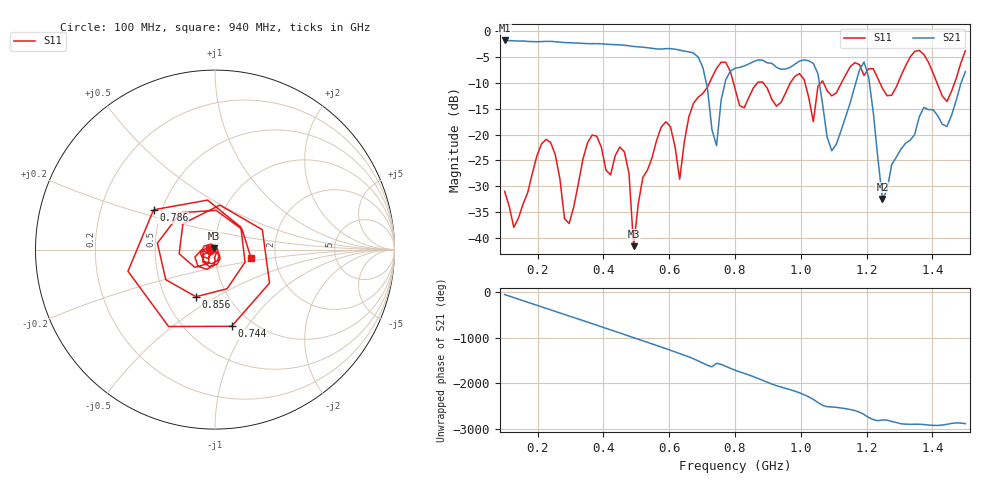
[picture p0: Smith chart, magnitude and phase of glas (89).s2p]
! NanoVNA-App
! Date: 2025-09-25 15:56:10
! Start: 100MHz Stop: 1,5GHz Points: 101
! S-Parameter data: F S11 S21 S12 S22
# Hz S RI R 50
!  Frequency  S11_Real  S11_Imag  S21_Real  S21_Imag  S12_Real  S12_Imag  S22_Real  S22_Imag
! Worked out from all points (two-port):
!   101 points, 100 MHz to 1.5 GHz, reference 50 ohm
!   highest |S21| = -1.80 dB at 100 MHz (marker M1); lowest = -32.4 dB at 1.248 GHz (marker M2)
!   |S21| within 3 dB of the highest: start of sweep to 684.2 MHz
!   lowest |S11| = -41.6 dB at 492 MHz (marker M3), VSWR 1.02, Z = 49.5 + j0.638 ohm
!   |S11| at or under -10 dB: start of sweep to 722.4 MHz; 795.4 MHz to 868.2 MHz (72.81 MHz wide, 8.75 % of centre); 886.1 MHz to 967.9 MHz (81.83 MHz wide, 8.83 % of centre) (the widest 3 of 7)
!   S12 and S22 are empty: the file has one direction only
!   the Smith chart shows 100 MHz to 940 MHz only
!   S11 on the Smith chart (normalised r, x): 100 MHz: 0.95, -0.01; 744 MHz: 0.80, -0.85; 786 MHz: 0.45, +0.24; 856 MHz: 0.71, -0.41; 940 MHz: 1.49, -0.14
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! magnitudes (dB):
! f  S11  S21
! 100 MHz  -31.0  -1.8
! 128 MHz  -37.9  -1.9
! 226 MHz  -20.9  -2.0
! 296 MHz  -37.2  -2.2
! 338 MHz  -24.7  -2.4
! 464 MHz  -23.3  -2.7
! 492 MHz  -41.6  -3.0
! 576 MHz  -18.5  -3.5
! 632 MHz  -28.6  -3.7
! 702 MHz  -12.1  -6.9
! 744 MHz  -7.2  -22.1
! 786 MHz  -7.8  -7.7
! 800 MHz  -11.1  -7.2
! 856 MHz  -11.0  -5.9
! 940 MHz  -13.7  -7.4
! 996 MHz  -8.2  -5.8
! 1.038 GHz  -17.5  -6.2
! 1.094 GHz  -12.5  -23.1
! 1.192 GHz  -8.6  -6.0
! 1.248 GHz  -11.1  -32.4
! 1.276 GHz  -12.4  -25.8
! 1.5 GHz  -3.8  -7.8
